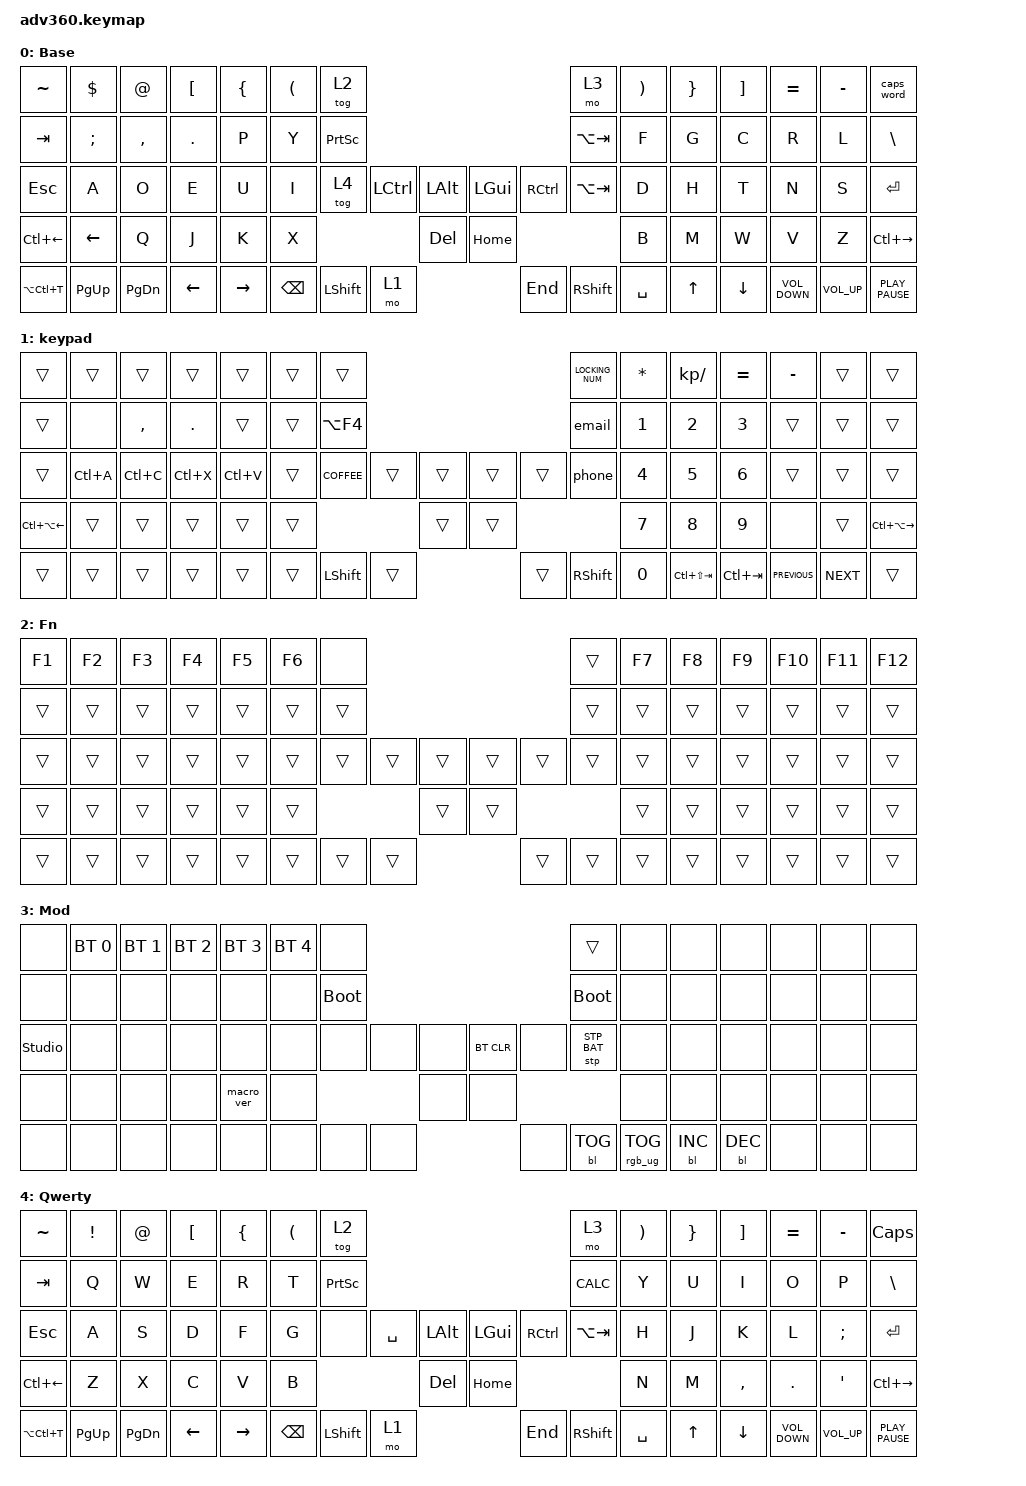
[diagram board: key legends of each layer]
#include <behaviors.dtsi>
#include <dt-bindings/zmk/backlight.h>
#include <dt-bindings/zmk/bt.h>
#include <dt-bindings/zmk/keys.h>
#include <dt-bindings/zmk/rgb.h>

/ {
    behaviors {
        email: email {
            compatible = "zmk,behavior-macro";
            #binding-cells = <0>;
            label = "EMAIL";
            bindings = <&none &kp L &kp O &kp R &kp E &kp N &kp Z &kp O &kp S &kp P &kp A &kp D &kp A &kp N2 &kp N0 &kp N0 &kp N2 &kp AT &kp G &kp M &kp A &kp I &kp L &kp DOT &kp C &kp O &kp M>;
        };

        phone: phone {
            compatible = "zmk,behavior-macro";
            #binding-cells = <0>;
            label = "PHONE";
            bindings = <&none &kp N0 &kp N6 &kp N4 &kp N0 &kp N8 &kp N2 &kp N0 &kp N8 &kp N4 &kp N0>;
        };

        euro: euro {
            compatible = "zmk,behavior-macro";
            #binding-cells = <0>;
            label = "Euro";
            bindings = <&kp RA(E)>;
        };
    };

    macros {
    };

    keymap {
        compatible = "zmk,keymap";

        default_layer {
            display-name = "Base";
            bindings = <
&kp TILDE      &kp DOLLAR  &kp AT     &kp LEFT_BRACKET  &kp LEFT_BRACE  &kp LEFT_PARENTHESIS  &tog 2                                                                                       &mo 3        &kp RIGHT_PARENTHESIS  &kp RIGHT_BRACE  &kp RIGHT_BRACKET  &kp EQUAL          &kp MINUS        &caps_word
&kp TAB        &kp SEMI    &kp COMMA  &kp DOT           &kp P           &kp Y                 &kp PRINTSCREEN                                                                              &kp LA(TAB)  &kp F                  &kp G            &kp C              &kp R              &kp L            &kp BSLH
&kp ESC        &kp A       &kp O      &kp E             &kp U           &kp I                 &tog 4                     &kp LCTRL       &kp LALT    &kp LGUI  &kp RCTRL                   &kp LA(TAB)  &kp D                  &kp H            &kp T              &kp N              &kp S            &kp RET
&kp LC(LEFT)   &kp LEFT    &kp Q      &kp J             &kp K           &kp X                                                            &kp DEL     &kp HOME                                           &kp B                  &kp M            &kp W              &kp V              &kp Z            &kp LC(RIGHT)
&kp LA(LC(T))  &kp PG_UP   &kp PG_DN  &kp LEFT          &kp RIGHT                                              &kp BSPC  &kp LEFT_SHIFT  &mo 1       &kp END   &kp RIGHT_SHIFT  &kp SPACE                                      &kp UP           &kp DOWN           &kp K_VOLUME_DOWN  &kp K_VOLUME_UP  &kp K_PLAY_PAUSE
            >;
        };

        keypad {
            bindings = <
&trans            &trans     &trans     &trans     &trans     &trans  &trans                                                                &kp LOCKING_NUM  &kp ASTERISK  &kp KP_SLASH     &kp EQUAL    &kp MINUS       &trans      &trans
&trans            &none      &kp COMMA  &kp DOT    &trans     &trans  &kp LA(F4)                                                            &email           &kp N1        &kp N2           &kp N3       &trans          &trans      &trans
&trans            &kp LC(A)  &kp LC(C)  &kp LC(X)  &kp LC(V)  &trans  &kp K_COFFEE          &trans     &trans    &trans  &trans             &phone           &kp N4        &kp N5           &kp N6       &trans          &trans      &trans
&kp LC(LA(LEFT))  &trans     &trans     &trans     &trans     &trans                                   &trans    &trans                                      &kp N7        &kp N8           &kp N9       &none           &trans      &kp LC(LA(RIGHT))
&trans            &trans     &trans     &trans     &trans                           &trans  &kp LSHFT  &trans    &trans  &kp RSHFT  &kp N0                                 &kp LC(LS(TAB))  &kp LC(TAB)  &kp K_PREVIOUS  &kp K_NEXT  &trans
            >;
        };

        fn {
            display-name = "Fn";
            bindings = <
&kp F1  &kp F2  &kp F3  &kp F4  &kp F5  &kp F6  &none                                                     &trans  &kp F7  &kp F8  &kp F9  &kp F10  &kp F11  &kp F12
&trans  &trans  &trans  &trans  &trans  &trans  &trans                                                    &trans  &trans  &trans  &trans  &trans   &trans   &trans
&trans  &trans  &trans  &trans  &trans  &trans  &trans          &trans  &trans    &trans  &trans          &trans  &trans  &trans  &trans  &trans   &trans   &trans
&trans  &trans  &trans  &trans  &trans  &trans                          &trans    &trans                          &trans  &trans  &trans  &trans   &trans   &trans
&trans  &trans  &trans  &trans  &trans                  &trans  &trans  &trans    &trans  &trans  &trans                  &trans  &trans  &trans   &trans   &trans
            >;
        };

        mod {
            display-name = "Mod";
            bindings = <
&none           &bt BT_SEL 0  &bt BT_SEL 1  &bt BT_SEL 2  &bt BT_SEL 3  &bt BT_SEL 4  &none                                                                        &trans        &none  &none       &none       &none  &none  &none
&none           &none         &none         &none         &none         &none         &bootloader                                                                  &bootloader   &none  &none       &none       &none  &none  &none
&studio_unlock  &none         &none         &none         &none         &none         &none               &none  &none    &bt BT_CLR  &none                        &stp STP_BAT  &none  &none       &none       &none  &none  &none
&none           &none         &none         &none         &macro_ver    &none                                    &none    &none                                                  &none  &none       &none       &none  &none  &none
&none           &none         &none         &none         &none                                    &none  &none  &none    &none       &bl BL_TOG  &rgb_ug RGB_TOG                       &bl BL_INC  &bl BL_DEC  &none  &none  &none
            >;
        };

        qwerty {
            display-name = "Qwerty";
            bindings = <
&kp TILDE      &kp EXCL   &kp AT     &kp LEFT_BRACKET  &kp LEFT_BRACE  &kp LEFT_PARENTHESIS  &tog 2                                                                            &mo 3        &kp RIGHT_PARENTHESIS  &kp RIGHT_BRACE  &kp RIGHT_BRACKET  &kp EQUAL          &kp MINUS        &kp CAPSLOCK
&kp TAB        &kp Q      &kp W      &kp E             &kp R           &kp T                 &kp PRINTSCREEN                                                                   &kp K_CALC   &kp Y                  &kp U            &kp I              &kp O              &kp P            &kp BSLH
&kp ESC        &kp A      &kp S      &kp D             &kp F           &kp G                 &none                      &kp SPACE  &kp LALT    &kp LGUI  &kp RCTRL             &kp LA(TAB)  &kp H                  &kp J            &kp K              &kp L              &kp SEMI         &kp RET
&kp LC(LEFT)   &kp Z      &kp X      &kp C             &kp V           &kp B                                                       &kp DEL     &kp HOME                                     &kp N                  &kp M            &kp COMMA          &kp DOT            &kp APOS         &kp LC(RIGHT)
&kp LA(LC(T))  &kp PG_UP  &kp PG_DN  &kp LEFT          &kp RIGHT                                              &kp BSPC  &kp LSHFT  &mo 1       &kp END   &kp RSHFT  &kp SPACE                                      &kp UP           &kp DOWN           &kp K_VOLUME_DOWN  &kp K_VOLUME_UP  &kp K_PLAY_PAUSE
            >;
        };
    };
};
